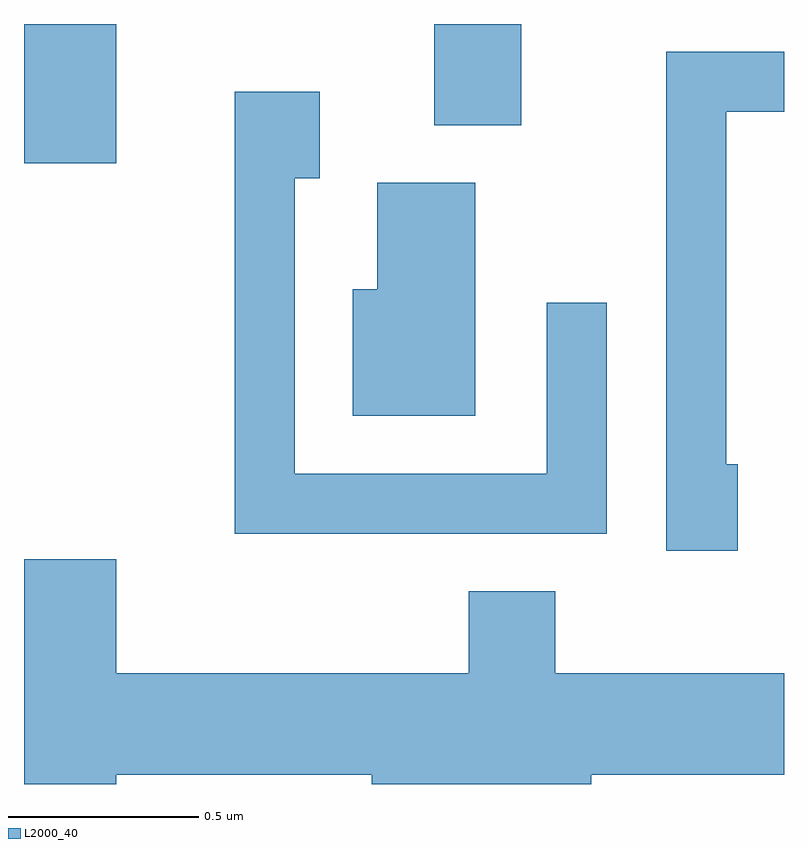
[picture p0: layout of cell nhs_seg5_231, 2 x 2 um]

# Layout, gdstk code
import gdstk
lib = gdstk.Library(unit=1e-6, precision=1e-09)
def R(c, l, rs):  # rectangles x0, y0, x1, y1
    for r in rs: c.add(gdstk.rectangle(r[:2], r[2:], *l))
def P(c, l, *ps):  # polygons
    for p in ps: c.add(gdstk.Polygon(p, *l))
L2000_40 = (2000, 40)

nhs_seg5_231 = lib.new_cell('nhs_seg5_231')
R(nhs_seg5_231, L2000_40, [(186.611,1491.706,186.854,1492.072), (187.691,1491.806,187.919,1492.072)])
P(nhs_seg5_231, L2000_40, [(188.489,1490.914),(188.459,1490.914),(188.459,1491.841),(188.611,1491.841),(188.611,1491.999),(188.301,1491.999),(188.301,1490.686),(188.489,1490.686)],
  [(188.144,1491.338),(187.986,1491.338),(187.986,1490.889),(187.324,1490.889),(187.324,1491.666),(187.389,1491.666),(187.389,1491.894),(187.166,1491.894),(187.166,1490.731),(188.144,1490.731)],
  [(187.799,1491.654),(187.541,1491.654),(187.541,1491.374),(187.476,1491.374),(187.476,1491.041),(187.799,1491.041)],
  [(186.854,1490.096),(187.526,1490.096),(187.526,1490.072),(188.104,1490.072),(188.104,1490.096),(188.611,1490.096),(188.611,1490.364),(188.009,1490.364),(188.009,1490.579),(187.781,1490.579),(187.781,1490.364),(186.854,1490.364),(186.854,1490.664),(186.611,1490.664),(186.611,1490.072),(186.854,1490.072)])

lib.write_gds('nhs_seg5_231.gds')
